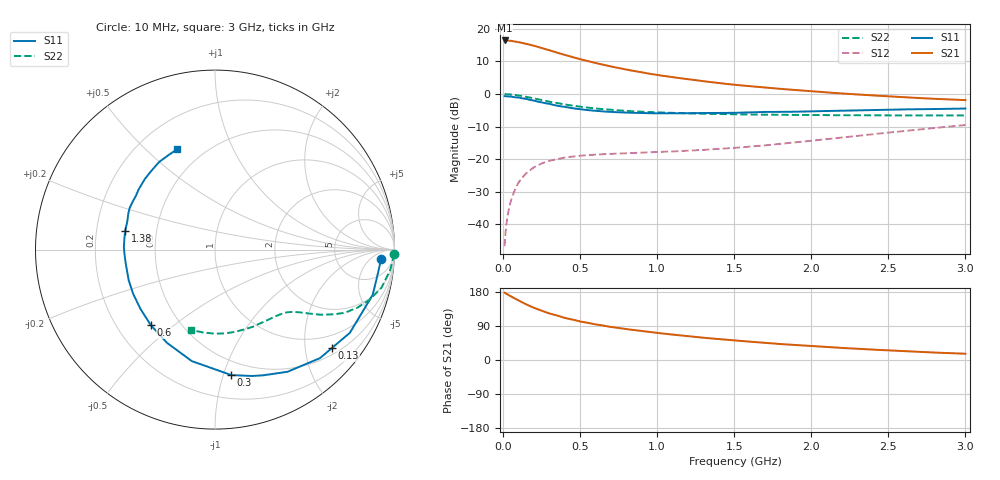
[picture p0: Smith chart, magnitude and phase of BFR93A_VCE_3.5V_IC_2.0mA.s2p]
! Infineon Technologies  Discrete & RF Semiconductors
! BFR93A
! VCE =  3.5 V,  IC =  2.0 mA
! Common Emitter S-Parameters:  Nov 2015
# GHz  S  MA  R  50
!  f  S11  S21  S12  S22
! GHz  MAG  ANG  MAG  ANG  MAG  ANG  MAG  ANG
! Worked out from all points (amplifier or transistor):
!   180 points, 10 MHz to 3 GHz, reference 50 ohm
!   highest |S21| = 16.4 dB at 10 MHz (marker M1)
!   |S21| within 3 dB of that: start of sweep to 300.6 MHz
!   unconditionally stable (mu >= 1): 989.7 MHz to 2.725 GHz
!   at 160 MHz: K = 0.20, MSG = 19.6 dB, |S12| = -24.0 dB
!   at 1.22 GHz: K = 1.12, MAG = 8.8 dB, |S12| = -17.4 dB
!   at 3 GHz: K = 0.95, MSG = 3.8 dB, |S12| = -9.6 dB
!   S11 on the Smith chart (normalised r, x): 10 MHz: 17, -13; 130 MHz: 0.65, -2.60; 300 MHz: 0.38, -1.06; 600 MHz: 0.34, -0.42; 1.38 GHz: 0.33, +0.09; 3 GHz: 0.36, +0.63
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0.01  0.9267 -3.3  6.624 177.5  0.0046 88.3  0.9958 -1.4
0.015  0.9233 -4.8  6.622 176.3  0.0069 86.2  0.9947 -2.0
0.025  0.9177 -8.0  6.604 173.8  0.0115 83.8  0.9915 -3.4
0.05  0.9141 -16.0  6.547 168.0  0.0225 80.9  0.9825 -6.7
0.1  0.883 -31.7  6.27 157.2  0.0434 72.4  0.9516 -12.9
0.13  0.8515 -40.1  6.019 151.1  0.0535 67.1  0.9223 -16.0
0.15  0.8412 -46.0  5.892 146.7  0.0605 64.5  0.9043 -18.1
0.2  0.7916 -59.3  5.501 137.8  0.0746 58.6  0.8556 -22.3
0.24  0.7502 -69.0  5.159 131.3  0.0834 54.0  0.8156 -25.1
0.3  0.7049 -82.6  4.694 122.9  0.0939 49.0  0.7613 -28.2
0.4  0.6347 -101.7  3.976 111.1  0.1056 43.0  0.6886 -31.8
0.5  0.5845 -117.2  3.416 101.7  0.1126 39.1  0.6357 -34.1
0.52  0.5756 -119.7  3.325 100.3  0.1135 38.7  0.628 -34.5
0.6  0.552 -130.5  2.984 94.0  0.1172 37.1  0.5973 -36.0
0.7  0.5304 -141.7  2.638 87.2  0.1206 36.3  0.57 -37.6
0.8  0.5183 -151.6  2.366 81.5  0.1229 36.3  0.549 -39.3
1.02  0.5036 -169.5  1.925 70.6  0.1287 38.0  0.5193 -43.2
1.38  0.5105 168.4  1.488 55.9  0.142 44.2  0.4932 -51.5
1.52  0.5144 161.6  1.369 50.9  0.1497 47.0  0.4862 -55.3
2.02  0.5422 141.3  1.09 36.4  0.1928 54.2  0.4735 -70.3
2.52  0.5728 124.8  0.913 25.0  0.2578 55.4  0.4682 -87.5
3  0.5974 110.7  0.804 16.6  0.333 52.3  0.4672 -106.7
